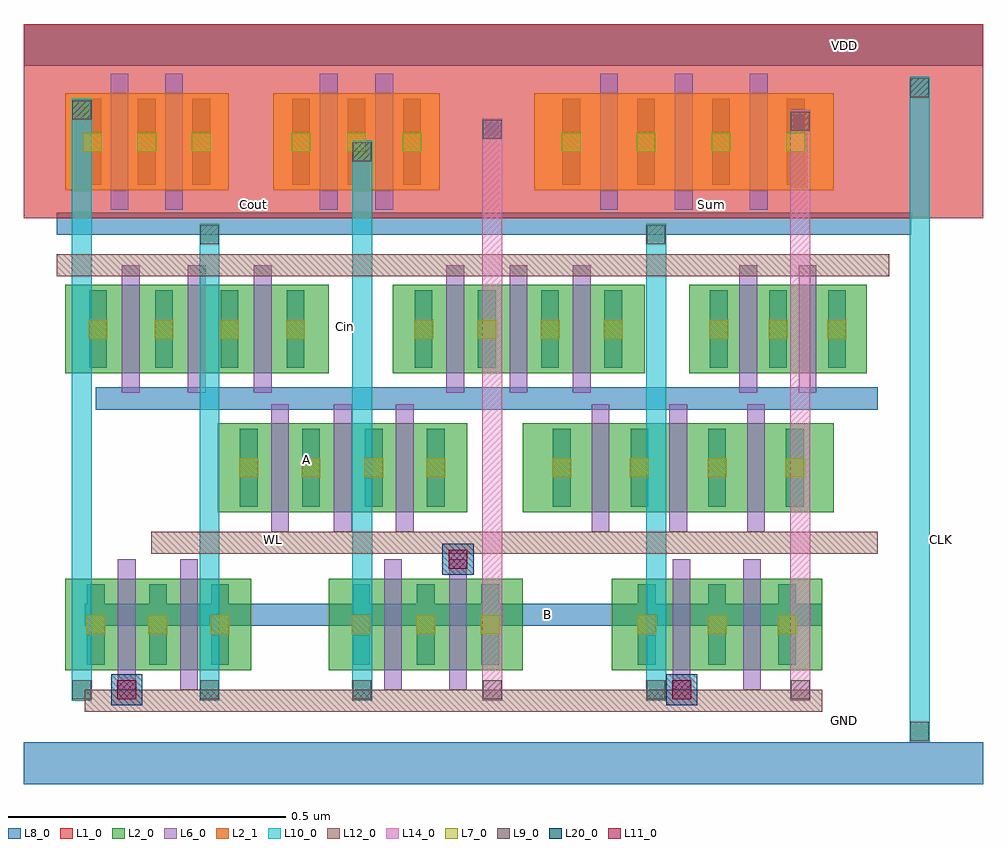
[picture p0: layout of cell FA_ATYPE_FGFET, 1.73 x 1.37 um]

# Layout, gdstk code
import gdstk
lib = gdstk.Library(unit=1e-6, precision=1e-09)
def R(c, l, rs):  # rectangles x0, y0, x1, y1
    for r in rs: c.add(gdstk.rectangle(r[:2], r[2:], *l))
def A(c, l, x, y, w, h, nx, ny, dx, dy):  # array of equal rectangles
    R(c, l, [(x+i*dx, y+j*dy, x+i*dx+w, y+j*dy+h) for i in range(nx) for j in range(ny)])
L1_0 = (1, 0)
L2_0 = (2, 0)
L2_1 = (2, 1)
L6_0 = (6, 0)
L7_0 = (7, 0)
L8_0 = (8, 0)
L9_0 = (9, 0)
L10_0 = (10, 0)
L11_0 = (11, 0)
L12_0 = (12, 0)
L14_0 = (14, 0)
L20_0 = (20, 0)

fa_atype_fgfet = lib.new_cell('FA_ATYPE_FGFET')
R(fa_atype_fgfet, L1_0, [(0,1.02,1.73,1.37)])
R(fa_atype_fgfet, L2_0, [(0.075,0.205,0.41,0.37), (0.55,0.205,0.9,0.37), (1.06,0.205,1.44,0.37), (0.35,0.49,0.8,0.65), (0.9,0.49,1.46,0.65), (0.075,0.74,0.55,0.9), (0.665,0.74,1.12,0.9), (1.2,0.74,1.52,0.9)])
R(fa_atype_fgfet, L2_1, [(0.075,1.07,0.37,1.245), (0.45,1.07,0.75,1.245), (0.92,1.07,1.46,1.245)])
A(fa_atype_fgfet, L6_0, 1.024, 0.455, 0.032, 0.23, 3, 1, 0.14, 0)
A(fa_atype_fgfet, L6_0, 0.177, 0.705, 0.032, 0.23, 3, 1, 0.119, 0)
A(fa_atype_fgfet, L6_0, 0.762, 0.705, 0.032, 0.23, 3, 1, 0.114, 0)
A(fa_atype_fgfet, L6_0, 1.039, 1.035, 0.032, 0.245, 3, 1, 0.135, 0)
R(fa_atype_fgfet, L6_0, [(0.17,0.17,0.202,0.405), (0.282,0.17,0.314,0.405), (0.65,0.17,0.682,0.405), (0.767,0.17,0.799,0.405), (1.17,0.17,1.202,0.405), (1.297,0.17,1.329,0.405), (0.446,0.455,0.478,0.685), (0.559,0.455,0.591,0.685), (0.671,0.455,0.703,0.685), (1.29,0.705,1.322,0.935), (1.397,0.705,1.429,0.935), (0.157,1.035,0.189,1.28), (0.255,1.035,0.287,1.28), (0.534,1.035,0.566,1.28), (0.634,1.035,0.666,1.28)])
A(fa_atype_fgfet, L7_0, 0.113, 0.27, 0.034, 0.034, 3, 1, 0.112, 0)
A(fa_atype_fgfet, L7_0, 0.953, 0.553, 0.034, 0.034, 4, 1, 0.14, 0)
A(fa_atype_fgfet, L7_0, 0.704, 0.803, 0.034, 0.034, 4, 1, 0.114, 0)
A(fa_atype_fgfet, L7_0, 0.107, 1.14, 0.034, 0.034, 3, 1, 0.098, 0)
A(fa_atype_fgfet, L7_0, 0.483, 1.14, 0.034, 0.034, 3, 1, 0.1, 0)
A(fa_atype_fgfet, L7_0, 0.97, 1.14, 0.034, 0.034, 4, 1, 0.135, 0)
R(fa_atype_fgfet, L7_0, [(0.591,0.27,0.625,0.304), (0.708,0.27,0.742,0.304), (0.824,0.27,0.858,0.304), (1.106,0.27,1.14,0.304), (1.233,0.27,1.267,0.304), (1.359,0.27,1.393,0.304), (0.389,0.553,0.423,0.587), (0.501,0.553,0.535,0.587), (0.614,0.553,0.648,0.587), (0.726,0.553,0.76,0.587), (0.117,0.803,0.151,0.837), (0.236,0.803,0.27,0.837), (0.354,0.803,0.388,0.837), (0.473,0.803,0.507,0.837), (1.236,0.803,1.27,0.837), (1.343,0.803,1.377,0.837), (1.449,0.803,1.483,0.837)])
A(fa_atype_fgfet, L8_0, 0.114, 0.215, 0.032, 0.145, 3, 1, 0.112, 0)
A(fa_atype_fgfet, L8_0, 0.954, 0.5, 0.032, 0.14, 4, 1, 0.14, 0)
A(fa_atype_fgfet, L8_0, 0.705, 0.75, 0.032, 0.14, 4, 1, 0.114, 0)
A(fa_atype_fgfet, L8_0, 0.108, 1.08, 0.032, 0.155, 3, 1, 0.098, 0)
A(fa_atype_fgfet, L8_0, 0.484, 1.08, 0.032, 0.155, 3, 1, 0.1, 0)
A(fa_atype_fgfet, L8_0, 0.971, 1.08, 0.032, 0.155, 4, 1, 0.135, 0)
R(fa_atype_fgfet, L8_0, [(0,0,1.73,0.075), (0.592,0.215,0.624,0.36), (0.709,0.215,0.741,0.36), (0.825,0.215,0.857,0.36), (1.107,0.215,1.139,0.36), (1.234,0.215,1.266,0.36), (1.36,0.215,1.392,0.36), (0.11,0.285,1.44,0.325), (0.39,0.5,0.422,0.64), (0.502,0.5,0.534,0.64), (0.615,0.5,0.647,0.64), (0.727,0.5,0.759,0.64), (0.13,0.675,1.54,0.715), (0.118,0.75,0.15,0.89), (0.237,0.75,0.269,0.89), (0.355,0.75,0.387,0.89), (0.474,0.75,0.506,0.89), (1.237,0.75,1.269,0.89), (1.344,0.75,1.376,0.89), (1.45,0.75,1.482,0.89), (0.06,0.99,1.6,1.03), (0,1.295,1.73,1.37)])
R(fa_atype_fgfet, L9_0, [(1.598,0.078,1.632,0.112), (0.088,0.153,0.122,0.187), (0.318,0.153,0.352,0.187), (0.593,0.153,0.627,0.187), (0.828,0.153,0.862,0.187), (1.123,0.153,1.157,0.187), (1.383,0.153,1.417,0.187), (0.318,0.973,0.352,1.007), (1.123,0.973,1.157,1.007), (0.593,1.123,0.627,1.157), (0.828,1.163,0.862,1.197), (1.383,1.178,1.417,1.212), (0.088,1.198,0.122,1.232), (1.598,1.238,1.632,1.272)])
R(fa_atype_fgfet, L10_0, [(1.597,0.075,1.633,1.275), (0.087,0.15,0.123,1.235), (0.317,0.15,0.353,1.01), (0.592,0.15,0.628,1.16), (1.122,0.15,1.158,1.01)])
R(fa_atype_fgfet, L11_0, [(0.169,0.153,0.203,0.187), (1.169,0.153,1.203,0.187), (0.766,0.388,0.8,0.422)])
R(fa_atype_fgfet, L12_0, [(0.11,0.13,1.44,0.17), (0.23,0.415,1.54,0.455), (0.06,0.915,1.56,0.955)])
R(fa_atype_fgfet, L14_0, [(0.827,0.15,0.863,1.2), (1.382,0.15,1.418,1.215)])
R(fa_atype_fgfet, L20_0, [(0.158,0.142,0.214,0.198), (1.158,0.142,1.214,0.198), (0.755,0.377,0.811,0.433)])
fa_atype_fgfet.add(gdstk.Label('VDD', (1.48,1.332), layer=100, texttype=0))
fa_atype_fgfet.add(gdstk.Label('GND', (1.48,0.115), layer=100, texttype=0))
fa_atype_fgfet.add(gdstk.Label('Cout', (0.415,1.045), layer=100, texttype=0))
fa_atype_fgfet.add(gdstk.Label('Sum', (1.24,1.045), layer=100, texttype=0))
fa_atype_fgfet.add(gdstk.Label('Cin', (0.58,0.825), layer=100, texttype=0))
fa_atype_fgfet.add(gdstk.Label('A', (0.51,0.585), layer=100, texttype=0))
fa_atype_fgfet.add(gdstk.Label('WL', (0.45,0.44), layer=100, texttype=0))
fa_atype_fgfet.add(gdstk.Label('B', (0.945,0.305), layer=100, texttype=0))
fa_atype_fgfet.add(gdstk.Label('CLK', (1.655,0.44), layer=100, texttype=0))

lib.write_gds('FA_ATYPE_FGFET.gds')
